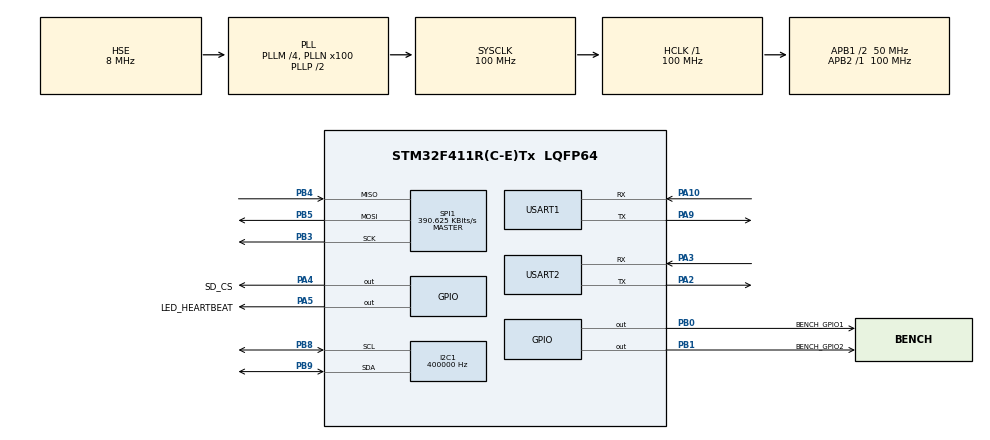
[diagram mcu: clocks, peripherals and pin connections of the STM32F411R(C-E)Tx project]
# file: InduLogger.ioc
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Dma.Request0=USART1_RX
Dma.USART1_RX.0.Direction=DMA_PERIPH_TO_MEMORY
Dma.USART1_RX.0.FIFOMode=DMA_FIFOMODE_DISABLE
Dma.USART1_RX.0.Instance=DMA2_Stream2
Dma.USART1_RX.0.MemDataAlignment=DMA_MDATAALIGN_BYTE
Dma.USART1_RX.0.MemInc=DMA_MINC_ENABLE
Dma.USART1_RX.0.Mode=DMA_NORMAL
Dma.USART1_RX.0.PeriphDataAlignment=DMA_PDATAALIGN_BYTE
Dma.USART1_RX.0.PeriphInc=DMA_PINC_DISABLE
Dma.USART1_RX.0.Priority=DMA_PRIORITY_LOW
FATFS._USE_LFN=2
FREERTOS.Tasks01=defaultTask,0,512,StartDefaultTask,Default,NULL,Dynamic,NULL,NULL
FREERTOS.configTOTAL_HEAP_SIZE=30720
FREERTOS.configUSE_NEWLIB_REENTRANT=1
I2C1.ClockSpeed=400000
I2C1.I2C_Mode=I2C_Fast
IWDG.Prescaler=IWDG_PRESCALER_32
IWDG.Reload=1999
Mcu.Family=STM32F4
Mcu.Name=STM32F411R(C-E)Tx
Mcu.Package=LQFP64
NVIC.DMA2_Stream2_IRQn=true\:5\:0\:false\:false\:true\:true\:false\:true\:true
NVIC.PriorityGroup=NVIC_PRIORITYGROUP_4
NVIC.TIM1_TRG_COM_TIM11_IRQn=true\:15\:0\:false\:false\:true\:false\:false\:true\:true
NVIC.TimeBase=TIM1_TRG_COM_TIM11_IRQn
NVIC.TimeBaseIP=TIM11
NVIC.USART1_IRQn=true\:5\:0\:false\:false\:true\:true\:true\:true\:true
PA10.Mode=Asynchronous
PA10.Signal=USART1_RX
PA13.Mode=Serial_Wire
PA13.Signal=SYS_JTMS-SWDIO
PA14.Mode=Serial_Wire
PA14.Signal=SYS_JTCK-SWCLK
PA2.Mode=Asynchronous
PA2.Signal=USART2_TX
PA3.Mode=Asynchronous
PA3.Signal=USART2_RX
PA4.GPIO_Label=SD_CS
PA4.Signal=GPIO_Output
PA5.GPIO_Label=LED_HEARTBEAT
PA5.Signal=GPIO_Output
PA9.Mode=Asynchronous
PA9.Signal=USART1_TX
PB0.GPIO_Label=BENCH_GPIO1
PB0.Signal=GPIO_Output
PB1.GPIO_Label=BENCH_GPIO2
PB1.Signal=GPIO_Output
PB3.Mode=Full_Duplex_Master
PB3.Signal=SPI1_SCK
PB4.Mode=Full_Duplex_Master
PB4.Signal=SPI1_MISO
PB5.Mode=Full_Duplex_Master
PB5.Signal=SPI1_MOSI
PB8.Mode=I2C
PB8.Signal=I2C1_SCL
PB9.Mode=I2C
PB9.Signal=I2C1_SDA
PH0\ -\ OSC_IN.Mode=HSE-External-Clock-Source
PH0\ -\ OSC_IN.Signal=RCC_OSC_IN
PH1\ -\ OSC_OUT.Mode=HSE-External-Clock-Source
PH1\ -\ OSC_OUT.Signal=RCC_OSC_OUT
ProjectManager.HeapSize=0x200
ProjectManager.StackSize=0x400
ProjectManager.TargetToolchain=STM32CubeIDE
RCC.48MHZClocksFreq_Value=50000000
RCC.AHBFreq_Value=100000000
RCC.APB1CLKDivider=RCC_HCLK_DIV2
RCC.APB1Freq_Value=50000000
RCC.APB1TimFreq_Value=100000000
RCC.APB2Freq_Value=100000000
RCC.APB2TimFreq_Value=100000000
RCC.CortexFreq_Value=100000000
RCC.HCLKFreq_Value=100000000
RCC.HSE_VALUE=8000000
RCC.HSI_VALUE=16000000
RCC.LSE_VALUE=32768
RCC.PLLM=4
RCC.PLLN=100
RCC.PLLSourceVirtual=RCC_PLLSOURCE_HSE
RCC.SYSCLKFreq_VALUE=100000000
RCC.SYSCLKSource=RCC_SYSCLKSOURCE_PLLCLK
RCC.VCOOutputFreq_Value=200000000
SPI1.BaudRatePrescaler=SPI_BAUDRATEPRESCALER_256
SPI1.CalculateBaudRate=390.625 KBits/s
SPI1.Direction=SPI_DIRECTION_2LINES
SPI1.Mode=SPI_MODE_MASTER
SPI1.Prescaler=SPI_BAUDRATEPRESCALER_256
SPI1.VirtualType=VM_MASTER
USART1.VirtualMode=VM_ASYNC
USART2.VirtualMode=VM_ASYNC
VP_FATFS_VS_Generic.Mode=User_defined
VP_FREERTOS_VS_CMSIS_V1.Mode=CMSIS_V1
VP_IWDG_VS_IWDG.Mode=IWDG_Activate
VP_SYS_VS_tim11.Mode=TIM11
board=custom

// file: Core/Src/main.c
/* USER CODE BEGIN Header */
/**
  ******************************************************************************
  * @file           : main.c
  * @brief          : Main program body
  ******************************************************************************
  * @attention
  *
  * Copyright (c) 2026 STMicroelectronics.
  * All rights reserved.
  *
  * This software is licensed under terms that can be found in the LICENSE file
  * in the root directory of this software component.
  * If no LICENSE file comes with this software, it is provided AS-IS.
  *
  ******************************************************************************
  */
/* USER CODE END Header */
#include "main.h"
#include "cmsis_os.h"
#include "fatfs.h"

/* USER CODE BEGIN Includes */
#include <stdio.h>
#include "app/industrial_logger/app_logger.h"
#include "app/industrial_logger/app_sensors.h"
#include "platform/console/console.h"
#include "platform/diag/diag.h"
#include "platform/stats/stats.h"
/* USER CODE END Includes */

I2C_HandleTypeDef hi2c1;

IWDG_HandleTypeDef hiwdg;

SPI_HandleTypeDef hspi1;

UART_HandleTypeDef huart1;
UART_HandleTypeDef huart2;
DMA_HandleTypeDef hdma_usart1_rx;

osThreadId defaultTaskHandle;

void SystemClock_Config(void);
static void MX_GPIO_Init(void);
static void MX_DMA_Init(void);
static void MX_IWDG_Init(void);
static void MX_I2C1_Init(void);
static void MX_SPI1_Init(void);
static void MX_USART1_UART_Init(void);
static void MX_USART2_UART_Init(void);
void StartDefaultTask(void const * argument);

int main(void)
{

  /* MCU Configuration--------------------------------------------------------*/

  /* Reset of all peripherals, Initializes the Flash interface and the Systick. */
  HAL_Init();

  /* Configure the system clock */
  SystemClock_Config();

  /* Initialize all configured peripherals */
  MX_GPIO_Init();
  MX_DMA_Init();
  MX_IWDG_Init();
  MX_I2C1_Init();
  MX_SPI1_Init();
  MX_USART1_UART_Init();
  MX_USART2_UART_Init();
  MX_FATFS_Init();
  /* USER CODE BEGIN 2 */
  DBGMCU->APB1FZ |= DBGMCU_APB1_FZ_DBG_IWDG_STOP; /* pause IWDG under debugger */
  diag_dwt_init(); /* DWT cycle counter + bench GPIOs (T10) */
  console_init(); /* banner + printf retarget over ST-LINK VCP */
  printf("reset cause: %s\r\n", reset_cause_name(reset_cause_capture()));
  /* USER CODE END 2 */

  /* Create the thread(s) */
  /* definition and creation of defaultTask */
  osThreadDef(defaultTask, StartDefaultTask, osPriorityNormal, 0, 512);
  defaultTaskHandle = osThreadCreate(osThread(defaultTask), NULL);

  /* Start scheduler */
  osKernelStart();

  /* We should never get here as control is now taken by the scheduler */

  /* Infinite loop */
  while (1)
  {

  }
}

void SystemClock_Config(void)
{
  RCC_OscInitTypeDef RCC_OscInitStruct = {0};
  RCC_ClkInitTypeDef RCC_ClkInitStruct = {0};

  /** Configure the main internal regulator output voltage
  */
  __HAL_RCC_PWR_CLK_ENABLE();
  __HAL_PWR_VOLTAGESCALING_CONFIG(PWR_REGULATOR_VOLTAGE_SCALE1);

  /** Initializes the RCC Oscillators according to the specified parameters
  * in the RCC_OscInitTypeDef structure.
  */
  RCC_OscInitStruct.OscillatorType = RCC_OSCILLATORTYPE_LSI|RCC_OSCILLATORTYPE_HSE;
  RCC_OscInitStruct.HSEState = RCC_HSE_BYPASS;
  RCC_OscInitStruct.LSIState = RCC_LSI_ON;
  RCC_OscInitStruct.PLL.PLLState = RCC_PLL_ON;
  RCC_OscInitStruct.PLL.PLLSource = RCC_PLLSOURCE_HSE;
  RCC_OscInitStruct.PLL.PLLM = 4;
  RCC_OscInitStruct.PLL.PLLN = 100;
  RCC_OscInitStruct.PLL.PLLP = RCC_PLLP_DIV2;
  RCC_OscInitStruct.PLL.PLLQ = 4;
  if (HAL_RCC_OscConfig(&RCC_OscInitStruct) != HAL_OK)
  {
    Error_Handler();
  }

  /** Initializes the CPU, AHB and APB buses clocks
  */
  RCC_ClkInitStruct.ClockType = RCC_CLOCKTYPE_HCLK|RCC_CLOCKTYPE_SYSCLK
                              |RCC_CLOCKTYPE_PCLK1|RCC_CLOCKTYPE_PCLK2;
  RCC_ClkInitStruct.SYSCLKSource = RCC_SYSCLKSOURCE_PLLCLK;
  RCC_ClkInitStruct.AHBCLKDivider = RCC_SYSCLK_DIV1;
  RCC_ClkInitStruct.APB1CLKDivider = RCC_HCLK_DIV2;
  RCC_ClkInitStruct.APB2CLKDivider = RCC_HCLK_DIV1;

  if (HAL_RCC_ClockConfig(&RCC_ClkInitStruct, FLASH_LATENCY_3) != HAL_OK)
  {
    Error_Handler();
  }
}

static void MX_I2C1_Init(void)
{

  hi2c1.Instance = I2C1;
  hi2c1.Init.ClockSpeed = 400000;
  hi2c1.Init.DutyCycle = I2C_DUTYCYCLE_2;
  hi2c1.Init.OwnAddress1 = 0;
  hi2c1.Init.AddressingMode = I2C_ADDRESSINGMODE_7BIT;
  hi2c1.Init.DualAddressMode = I2C_DUALADDRESS_DISABLE;
  hi2c1.Init.OwnAddress2 = 0;
  hi2c1.Init.GeneralCallMode = I2C_GENERALCALL_DISABLE;
  hi2c1.Init.NoStretchMode = I2C_NOSTRETCH_DISABLE;
  if (HAL_I2C_Init(&hi2c1) != HAL_OK)
  {
    Error_Handler();
  }

}

static void MX_IWDG_Init(void)
{

  hiwdg.Instance = IWDG;
  hiwdg.Init.Prescaler = IWDG_PRESCALER_32;
  hiwdg.Init.Reload = 1999;
  if (HAL_IWDG_Init(&hiwdg) != HAL_OK)
  {
    Error_Handler();
  }

}

static void MX_SPI1_Init(void)
{

  /* SPI1 parameter configuration*/
  hspi1.Instance = SPI1;
  hspi1.Init.Mode = SPI_MODE_MASTER;
  hspi1.Init.Direction = SPI_DIRECTION_2LINES;
  hspi1.Init.DataSize = SPI_DATASIZE_8BIT;
  hspi1.Init.CLKPolarity = SPI_POLARITY_LOW;
  hspi1.Init.CLKPhase = SPI_PHASE_1EDGE;
  hspi1.Init.NSS = SPI_NSS_SOFT;
  hspi1.Init.BaudRatePrescaler = SPI_BAUDRATEPRESCALER_256;
  hspi1.Init.FirstBit = SPI_FIRSTBIT_MSB;
  hspi1.Init.TIMode = SPI_TIMODE_DISABLE;
  hspi1.Init.CRCCalculation = SPI_CRCCALCULATION_DISABLE;
  hspi1.Init.CRCPolynomial = 10;
  if (HAL_SPI_Init(&hspi1) != HAL_OK)
  {
    Error_Handler();
  }

}

static void MX_USART1_UART_Init(void)
{

  huart1.Instance = USART1;
  huart1.Init.BaudRate = 115200;
  huart1.Init.WordLength = UART_WORDLENGTH_8B;
  huart1.Init.StopBits = UART_STOPBITS_1;
  huart1.Init.Parity = UART_PARITY_NONE;
  huart1.Init.Mode = UART_MODE_TX_RX;
  huart1.Init.HwFlowCtl = UART_HWCONTROL_NONE;
  huart1.Init.OverSampling = UART_OVERSAMPLING_16;
  if (HAL_UART_Init(&huart1) != HAL_OK)
  {
    Error_Handler();
  }

}

static void MX_USART2_UART_Init(void)
{

  huart2.Instance = USART2;
  huart2.Init.BaudRate = 115200;
  huart2.Init.WordLength = UART_WORDLENGTH_8B;
  huart2.Init.StopBits = UART_STOPBITS_1;
  huart2.Init.Parity = UART_PARITY_NONE;
  huart2.Init.Mode = UART_MODE_TX_RX;
  huart2.Init.HwFlowCtl = UART_HWCONTROL_NONE;
  huart2.Init.OverSampling = UART_OVERSAMPLING_16;
  if (HAL_UART_Init(&huart2) != HAL_OK)
  {
    Error_Handler();
  }

}

static void MX_DMA_Init(void)
{

  /* DMA controller clock enable */
  __HAL_RCC_DMA2_CLK_ENABLE();

  /* DMA interrupt init */
  /* DMA2_Stream2_IRQn interrupt configuration */
  HAL_NVIC_SetPriority(DMA2_Stream2_IRQn, 5, 0);
  HAL_NVIC_EnableIRQ(DMA2_Stream2_IRQn);

}

static void MX_GPIO_Init(void)
{
  GPIO_InitTypeDef GPIO_InitStruct = {0};

  /* GPIO Ports Clock Enable */
  __HAL_RCC_GPIOH_CLK_ENABLE();
  __HAL_RCC_GPIOA_CLK_ENABLE();
  __HAL_RCC_GPIOB_CLK_ENABLE();

  /*Configure GPIO pin Output Level */
  HAL_GPIO_WritePin(GPIOA, SD_CS_Pin|LED_HEARTBEAT_Pin, GPIO_PIN_RESET);

  /*Configure GPIO pin Output Level */
  HAL_GPIO_WritePin(GPIOB, BENCH_GPIO1_Pin|BENCH_GPIO2_Pin, GPIO_PIN_RESET);

  /*Configure GPIO pins : SD_CS_Pin LED_HEARTBEAT_Pin */
  GPIO_InitStruct.Pin = SD_CS_Pin|LED_HEARTBEAT_Pin;
  GPIO_InitStruct.Mode = GPIO_MODE_OUTPUT_PP;
  GPIO_InitStruct.Pull = GPIO_NOPULL;
  GPIO_InitStruct.Speed = GPIO_SPEED_FREQ_LOW;
  HAL_GPIO_Init(GPIOA, &GPIO_InitStruct);

  /*Configure GPIO pins : BENCH_GPIO1_Pin BENCH_GPIO2_Pin */
  GPIO_InitStruct.Pin = BENCH_GPIO1_Pin|BENCH_GPIO2_Pin;
  GPIO_InitStruct.Mode = GPIO_MODE_OUTPUT_PP;
  GPIO_InitStruct.Pull = GPIO_NOPULL;
  GPIO_InitStruct.Speed = GPIO_SPEED_FREQ_LOW;
  HAL_GPIO_Init(GPIOB, &GPIO_InitStruct);

}

void StartDefaultTask(void const * argument)
{
  /* USER CODE BEGIN 5 */
  static uint32_t n = 0;
  app_logger_boot(); /* T8 Step 2: mount + append + readback evidence (once) */
  for (;;) {
    HAL_GPIO_TogglePin(LED_HEARTBEAT_GPIO_Port, LED_HEARTBEAT_Pin);
    iwdg_feed(); /* single-task skeleton feeding; Task 9 moves feeding to the Monitor alive-mask */
    if (++n % 4u == 0u) {
      app_sensors_tick(); /* T6 smoke: every 2 s */
      app_logger_tick(); /* T8: periodic append, self-heals around card removal */
    }
    vTaskDelay(pdMS_TO_TICKS(500));
  }
  /* USER CODE END 5 */
}

void HAL_TIM_PeriodElapsedCallback(TIM_HandleTypeDef *htim)
{
  if (htim->Instance == TIM11) {
    HAL_IncTick();
  }
}

void Error_Handler(void)
{
  __disable_irq();
  while (1)
  {
  }
}
